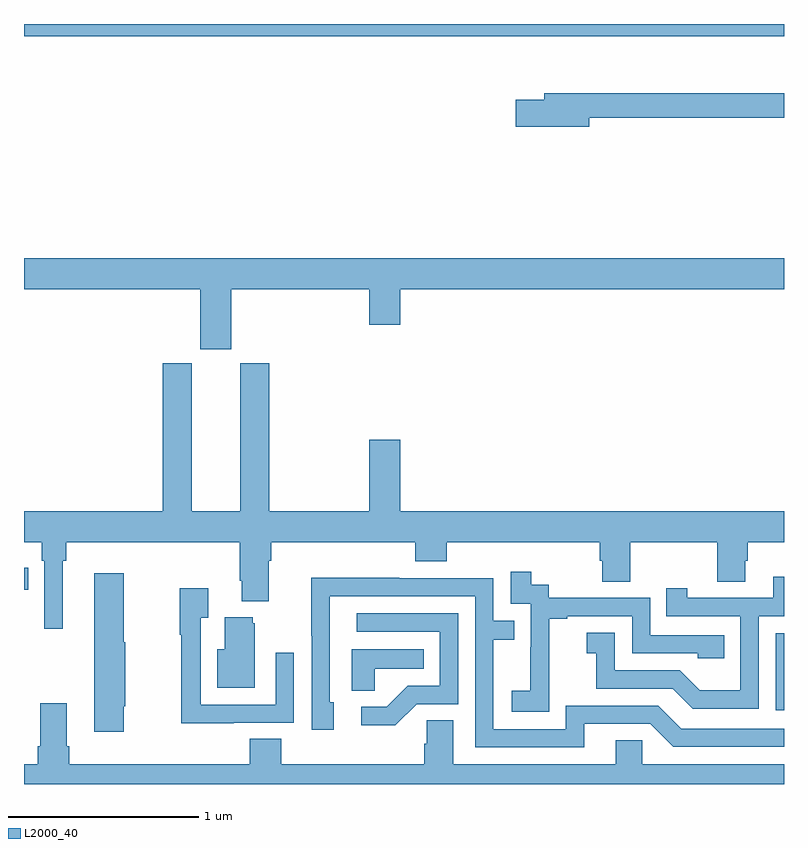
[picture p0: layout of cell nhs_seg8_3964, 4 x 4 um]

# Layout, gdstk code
import gdstk
lib = gdstk.Library(unit=1e-6, precision=1e-09)
def R(c, l, rs):  # rectangles x0, y0, x1, y1
    for r in rs: c.add(gdstk.rectangle(r[:2], r[2:], *l))
def P(c, l, *ps):  # polygons
    for p in ps: c.add(gdstk.Polygon(p, *l))
L2000_40 = (2000, 40)

nhs_seg8_3964 = lib.new_cell('nhs_seg8_3964')
R(nhs_seg8_3964, L2000_40, [(358.956,1110.288,359,1110.693), (355,1110.922,355.022,1111.038), (355,1113.836,359,1113.9)])
P(nhs_seg8_3964, L2000_40, [(357.976,1113.406),(359,1113.406),(359,1113.535),(357.737,1113.535),(357.737,1113.501),(357.588,1113.501),(357.588,1113.359),(357.976,1113.359)],
  [(356.092,1112.504),(356.816,1112.504),(356.816,1112.316),(356.98,1112.316),(356.98,1112.504),(359,1112.504),(359,1112.668),(355,1112.668),(355,1112.504),(355.928,1112.504),(355.928,1112.187),(356.092,1112.187)],
  [(355.204,1111.076),(355.223,1111.076),(355.223,1111.172),(356.135,1111.172),(356.135,1110.97),(356.147,1110.97),(356.147,1110.863),(356.287,1110.863),(356.287,1111.076),(356.3,1111.076),(356.3,1111.172),(357.059,1111.172),(357.059,1111.073),(357.224,1111.073),(357.224,1111.172),(358.031,1111.172),(358.031,1111.074),(358.043,1111.074),(358.043,1110.964),(358.191,1110.964),(358.191,1111.172),(358.648,1111.172),(358.648,1110.964),(358.795,1110.964),(358.795,1111.074),(358.808,1111.074),(358.808,1111.172),(359,1111.172),(359,1111.336),(356.98,1111.336),(356.98,1111.711),(356.816,1111.711),(356.816,1111.336),(356.291,1111.336),(356.291,1112.115),(356.138,1112.115),(356.138,1111.336),(355.882,1111.336),(355.882,1112.115),(355.73,1112.115),(355.73,1111.336),(355,1111.336),(355,1111.172),(355.094,1111.172),(355.094,1111.076),(355.107,1111.076),(355.107,1110.717),(355.204,1110.717)],
  [(357.765,1110.487),(357.764,1110.487),(357.764,1110.771),(357.859,1110.771),(357.859,1110.783),(358.2,1110.783),(358.2,1110.588),(358.545,1110.588),(358.545,1110.561),(358.685,1110.561),(358.685,1110.684),(358.296,1110.684),(358.296,1110.879),(357.762,1110.879),(357.762,1110.948),(357.67,1110.948),(357.67,1111.018),(357.561,1111.018),(357.561,1110.849),(357.666,1110.849),(357.666,1110.62),(357.665,1110.62),(357.665,1110.391),(357.567,1110.391),(357.567,1110.281),(357.765,1110.281)],
  [(355.524,1110.309),(355.534,1110.309),(355.534,1110.645),(355.524,1110.645),(355.524,1111.009),(355.37,1111.009),(355.37,1110.174),(355.524,1110.174)],
  [(358.866,1110.783),(359,1110.783),(359,1110.991),(358.943,1110.991),(358.943,1110.879),(358.492,1110.879),(358.492,1110.931),(358.381,1110.931),(358.381,1110.783),(358.77,1110.783),(358.77,1110.394),(358.556,1110.394),(358.452,1110.498),(358.11,1110.498),(358.11,1110.697),(357.963,1110.697),(357.963,1110.587),(358.012,1110.587),(358.012,1110.402),(358.415,1110.402),(358.52,1110.297),(358.866,1110.297)],
  [(357.949,1110.216),(358.296,1110.216),(358.416,1110.096),(359,1110.096),(359,1110.192),(358.458,1110.192),(358.338,1110.312),(357.852,1110.312),(357.852,1110.189),(357.471,1110.189),(357.471,1110.658),(357.581,1110.658),(357.581,1110.759),(357.471,1110.759),(357.471,1110.984),(356.975,1110.984),(356.975,1110.986),(356.512,1110.986),(356.512,1110.679),(356.514,1110.679),(356.514,1110.186),(356.629,1110.186),(356.629,1110.33),(356.61,1110.33),(356.61,1110.888),(357.375,1110.888),(357.375,1110.093),(357.949,1110.093)],
  [(356.105,1110.222),(356.421,1110.222),(356.421,1110.592),(356.325,1110.592),(356.325,1110.318),(355.929,1110.318),(355.929,1110.775),(355.969,1110.775),(355.969,1110.931),(355.821,1110.931),(355.821,1110.686),(355.828,1110.686),(355.828,1110.221),(356.105,1110.221)],
  [(357.066,1110.321),(357.285,1110.321),(357.285,1110.798),(356.751,1110.798),(356.751,1110.702),(357.189,1110.702),(357.189,1110.417),(357.02,1110.417),(356.909,1110.306),(356.775,1110.306),(356.775,1110.209),(356.953,1110.209)],
  [(356.215,1110.747),(356.204,1110.747),(356.204,1110.778),(356.057,1110.778),(356.057,1110.61),(356.018,1110.61),(356.018,1110.407),(356.215,1110.407)],
  [(356.847,1110.506),(357.104,1110.506),(357.104,1110.61),(356.726,1110.61),(356.726,1110.391),(356.847,1110.391)],
  [(359,1110.004),(358.254,1110.004),(358.254,1110.131),(358.115,1110.131),(358.115,1110.004),(357.259,1110.004),(357.259,1110.236),(357.12,1110.236),(357.12,1110.113),(357.107,1110.113),(357.107,1110.004),(356.354,1110.004),(356.354,1110.137),(356.189,1110.137),(356.189,1110.004),(355.238,1110.004),(355.238,1110.1),(355.225,1110.1),(355.225,1110.325),(355.085,1110.325),(355.085,1110.1),(355.073,1110.1),(355.073,1110.004),(355,1110.004),(355,1109.9),(359,1109.9)])

lib.write_gds('nhs_seg8_3964.gds')
